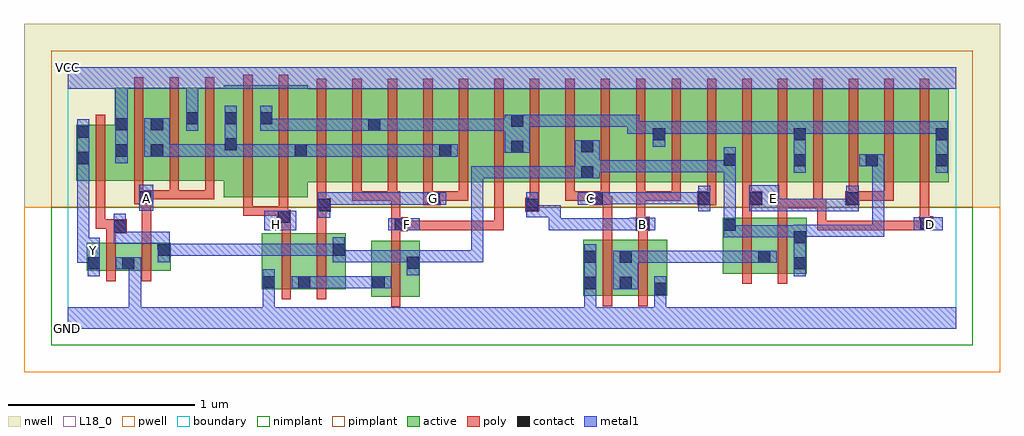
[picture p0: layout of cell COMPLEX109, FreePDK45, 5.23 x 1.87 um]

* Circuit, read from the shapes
.subckt COMPLEX109 A B C D E F G GND H VCC Y
M1 GND n1 Y VSUBS nfet w=0.15u l=0.05u
M2 n1 A GND VSUBS nfet w=0.15u l=0.05u
M3 n2 H GND VSUBS nfet w=0.3u l=0.05u
M4 n1 G n2 VSUBS nfet w=0.3u l=0.05u
M5 n1 F n2 VSUBS nfet w=0.3u l=0.05u
M6 n3 C GND VSUBS nfet w=0.3u l=0.05u
M7 GND B n3 VSUBS nfet w=0.3u l=0.05u
M8 n3 E n1 VSUBS nfet w=0.3u l=0.05u
M9 n1 D n3 VSUBS nfet w=0.3u l=0.05u
M10 VCC n1 Y n4 pfet w=0.3u l=0.05u
M11 n5 A VCC n4 pfet w=0.5u l=0.05u m=3
M12 n6 H n5 n4 pfet w=0.6u l=0.05u m=2
M13 n7 G n5 n4 pfet w=0.5u l=0.05u
M14 n6 F n7 n4 pfet w=0.5u l=0.05u
M15 n8 F n6 n4 pfet w=0.5u l=0.05u
M16 n5 G n8 n4 pfet w=0.5u l=0.05u
M17 n9 G n5 n4 pfet w=0.5u l=0.05u
M18 n6 F n9 n4 pfet w=0.5u l=0.05u
M19 n10 B n6 n4 pfet w=0.5u l=0.05u
M20 n1 C n10 n4 pfet w=0.5u l=0.05u
M21 n11 C n1 n4 pfet w=0.5u l=0.05u
M22 n6 B n11 n4 pfet w=0.5u l=0.05u
M23 n12 B n6 n4 pfet w=0.5u l=0.05u
M24 n1 C n12 n4 pfet w=0.5u l=0.05u
M25 n13 E n1 n4 pfet w=0.5u l=0.05u
M26 n6 D n13 n4 pfet w=0.5u l=0.05u
M27 n14 D n6 n4 pfet w=0.5u l=0.05u
M28 n1 E n14 n4 pfet w=0.5u l=0.05u
M29 n15 E n1 n4 pfet w=0.5u l=0.05u
M30 n6 D n15 n4 pfet w=0.5u l=0.05u
.ends

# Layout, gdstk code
import gdstk
lib = gdstk.Library(unit=1e-6, precision=1e-09)
def R(c, l, rs):  # rectangles x0, y0, x1, y1
    for r in rs: c.add(gdstk.rectangle(r[:2], r[2:], *l))
def A(c, l, x, y, w, h, nx, ny, dx, dy):  # array of equal rectangles
    R(c, l, [(x+i*dx, y+j*dy, x+i*dx+w, y+j*dy+h) for i in range(nx) for j in range(ny)])
active = (1, 0)
pwell = (2, 0)
nwell = (3, 0)
nimplant = (4, 0)
pimplant = (5, 0)
poly = (9, 0)
contact = (10, 0)
metal1 = (11, 0)
L18_0 = (18, 0)
boundary = (235, 0)

complex109 = lib.new_cell('COMPLEX109')
R(complex109, active, [(1.627,0.172,1.887,0.472), (2.762,0.175,2.837,0.475), (2.762,0.175,3.027,0.475), (2.952,0.175,3.212,0.475), (3.137,0.175,3.212,0.392), (1.627,0.2,1.702,0.392), (1.812,0.2,1.887,0.472), (2.952,0.2,3.027,0.422), (1.04,0.212,1.115,0.512), (1.04,0.212,1.305,0.512), (1.23,0.212,1.49,0.512), (1.23,0.212,1.305,0.397), (1.415,0.295,1.49,0.512), (3.51,0.295,3.585,0.595), (3.51,0.295,3.77,0.595), (3.695,0.295,3.96,0.595), (3.695,0.295,3.77,0.497), (3.885,0.295,3.96,0.595), (0.102,0.31,0.362,0.46), (0.287,0.31,0.552,0.46), (0.102,0.312,0.177,0.46), (0.287,0.312,0.362,0.457), (0.477,0.347,0.552,0.46), (0.835,0.705,1.1,1.305), (1.025,0.705,1.285,1.305), (1.025,0.707,1.1,1.2), (1.21,0.785,1.455,1.285), (1.455,0.785,1.68,1.285), (1.605,0.785,1.835,1.285), (1.835,0.785,2.06,1.285), (1.985,0.785,2.06,1.07), (1.985,0.785,2.215,1.285), (2.215,0.785,2.445,1.285), (2.37,0.785,2.445,1.2), (2.37,0.785,2.595,1.285), (2.595,0.785,2.82,1.285), (2.745,0.785,2.82,1.07), (2.745,0.785,2.975,1.285), (2.975,0.785,3.205,1.285), (3.13,0.785,3.355,1.285), (3.355,0.785,3.585,1.285), (3.51,0.785,3.735,1.285), (3.51,0.785,3.585,1.07), (3.735,0.785,3.96,1.285), (3.885,0.785,3.96,1.2), (3.885,0.785,4.115,1.285), (4.115,0.785,4.345,1.285), (4.27,0.785,4.495,1.285), (4.27,0.785,4.345,1.07), (4.495,0.785,4.72,1.285), (4.645,0.785,4.72,1.2), (0.045,0.792,0.12,1.092), (0.045,0.792,0.325,1.092), (0.25,0.792,0.325,1.292), (0.25,0.792,0.515,1.292), (0.44,0.792,0.705,1.292), (0.44,0.792,0.515,1.2), (0.63,0.792,0.91,1.292), (0.63,0.792,0.705,1.292), (0.835,0.807,0.91,1.2), (1.21,0.807,1.285,1.07), (1.605,0.807,1.68,1.2), (3.13,0.807,3.205,1.2)])
R(complex109, pwell, [(-0.235,-0.235,4.995,0.65)])
R(complex109, nwell, [(-0.235,0.65,4.995,1.635)])
R(complex109, nimplant, [(-0.09,-0.09,4.85,0.65)])
R(complex109, pimplant, [(-0.09,0.65,4.85,1.49)])
A(complex109, poly, 1.525, 0.685, 0.05, 0.095, 4, 1, 0.19, 0)
A(complex109, poly, 2.665, 0.685, 0.05, 0.095, 6, 1, 0.19, 0)
A(complex109, poly, 0.355, 0.692, 0.05, 0.095, 3, 1, 0.19, 0)
A(complex109, poly, 1.335, 0.73, 0.05, 0.61, 18, 1, 0.19, 0)
A(complex109, poly, 0.355, 0.737, 0.05, 0.61, 3, 1, 0.19, 0)
R(complex109, poly, [(1.732,0.117,1.782,0.527), (2.867,0.12,2.917,0.53), (3.057,0.12,3.107,0.53), (1.145,0.157,1.195,0.567), (1.335,0.157,1.385,0.567), (3.615,0.24,3.665,0.65), (3.805,0.24,3.855,0.65), (0.207,0.255,0.257,0.515), (0.397,0.255,0.447,0.515), (0.207,0.465,0.257,0.56), (0.397,0.465,0.447,0.717), (1.732,0.477,1.782,0.572), (2.867,0.48,2.917,0.71), (3.057,0.48,3.107,0.575), (0.207,0.51,0.315,0.585), (1.145,0.517,1.195,0.612), (1.335,0.517,1.385,0.675), (1.732,0.522,1.822,0.597), (3.042,0.525,3.117,0.6), (1.772,0.527,1.822,0.577), (1.772,0.527,1.822,0.577), (1.772,0.527,1.987,0.577), (1.937,0.527,1.987,0.577), (1.937,0.527,1.987,0.577), (1.937,0.527,1.987,0.577), (1.937,0.527,2.13,0.577), (2.08,0.527,2.13,0.577), (2.08,0.527,2.13,0.577), (2.08,0.527,2.13,0.577), (2.08,0.527,2.335,0.577), (2.285,0.527,2.335,0.577), (2.285,0.527,2.335,0.577), (2.285,0.527,2.335,0.577), (2.285,0.527,2.335,0.78), (4.015,0.527,4.065,0.577), (4.015,0.527,4.292,0.577), (4.015,0.527,4.065,0.695), (4.242,0.527,4.292,0.577), (4.242,0.527,4.292,0.577), (4.242,0.527,4.292,0.577), (4.242,0.527,4.48,0.577), (4.43,0.527,4.48,0.577), (4.43,0.527,4.612,0.577), (4.562,0.527,4.612,0.577), (4.562,0.527,4.612,0.577), (4.562,0.527,4.612,0.577), (4.562,0.527,4.612,0.577), (4.562,0.527,4.637,0.602), (0.15,0.535,0.2,0.787), (0.15,0.535,0.257,0.585), (0.207,0.535,0.257,0.585), (1.732,0.547,1.782,0.735), (3.045,0.55,3.095,0.735), (4.565,0.552,4.615,0.78), (1.12,0.562,1.195,0.637), (1.13,0.587,1.18,0.655), (3.615,0.6,3.665,0.71), (3.805,0.6,3.855,0.695), (0.94,0.605,0.99,0.655), (0.94,0.605,0.99,0.655), (0.94,0.605,0.99,0.655), (0.94,0.605,0.99,0.7), (0.94,0.605,1.18,0.655), (1.13,0.605,1.18,0.655), (1.13,0.605,1.18,0.7), (1.335,0.625,1.385,0.675), (1.335,0.625,1.385,0.675), (1.335,0.625,1.41,0.7), (2.452,0.627,2.527,0.702), (3.805,0.645,3.855,0.695), (3.805,0.645,3.855,0.695), (3.805,0.645,3.855,0.695), (3.805,0.645,3.855,0.695), (3.805,0.645,3.855,0.695), (3.805,0.645,3.855,0.78), (3.805,0.645,4.045,0.695), (3.995,0.645,4.045,0.695), (3.995,0.645,4.065,0.695), (3.995,0.645,4.045,0.78), (4.015,0.645,4.065,0.695), (0.94,0.65,0.99,1.36), (1.13,0.65,1.18,1.36), (1.335,0.65,1.385,0.78), (2.475,0.652,2.525,0.78), (1.905,0.66,1.997,0.735), (2.797,0.66,2.905,0.735), (2.855,0.66,2.905,0.71), (2.855,0.66,2.917,0.71), (3.372,0.66,3.475,0.735), (3.615,0.66,3.665,0.71), (3.615,0.66,3.665,0.71), (3.615,0.66,3.722,0.735), (4.167,0.66,4.242,0.735), (0.355,0.667,0.452,0.742), (0.397,0.667,0.447,0.717), (0.397,0.667,0.447,0.717), (1.525,0.685,1.575,0.735), (1.525,0.685,1.575,0.735), (1.525,0.685,1.575,0.735), (1.525,0.685,1.765,0.735), (1.715,0.685,1.782,0.735), (1.947,0.685,1.997,0.735), (1.947,0.685,1.997,0.735), (1.947,0.685,2.145,0.735), (2.095,0.685,2.145,0.735), (2.665,0.685,2.715,0.735), (2.665,0.685,2.715,0.735), (2.665,0.685,2.715,0.735), (2.665,0.685,2.847,0.735), (3.045,0.685,3.095,0.735), (3.045,0.685,3.095,0.735), (3.045,0.685,3.095,0.735), (3.045,0.685,3.285,0.735), (3.235,0.685,3.285,0.735), (4.185,0.685,4.235,0.78), (4.192,0.685,4.242,0.735), (4.192,0.685,4.242,0.735), (4.192,0.685,4.425,0.735), (4.375,0.685,4.425,0.735), (4.375,0.685,4.425,0.78), (0.402,0.692,0.452,0.742), (0.402,0.692,0.452,0.742), (0.402,0.692,0.595,0.742), (0.545,0.692,0.595,0.742), (0.545,0.692,0.595,0.742), (0.545,0.692,0.595,0.742), (0.545,0.692,0.785,0.742), (0.735,0.692,0.785,0.742), (0.15,0.737,0.2,1.147)])
R(complex109, contact, [(3.142,0.18,3.207,0.245), (2.767,0.212,2.832,0.277), (2.957,0.212,3.022,0.277), (1.045,0.217,1.11,0.282), (1.235,0.217,1.3,0.282), (1.632,0.217,1.697,0.282), (0.107,0.317,0.172,0.382), (0.292,0.317,0.357,0.382), (3.89,0.317,3.955,0.382), (1.817,0.32,1.882,0.385), (2.767,0.352,2.832,0.417), (2.957,0.352,3.022,0.417), (3.7,0.352,3.765,0.417), (0.482,0.39,0.547,0.455), (1.42,0.39,1.485,0.455), (3.89,0.457,3.955,0.522), (0.245,0.515,0.31,0.58), (3.515,0.525,3.58,0.59), (1.752,0.527,1.817,0.592), (3.047,0.53,3.112,0.595), (4.567,0.532,4.632,0.597), (1.125,0.567,1.19,0.632), (1.34,0.63,1.405,0.695), (2.457,0.632,2.522,0.697), (1.927,0.665,1.992,0.73), (2.802,0.665,2.867,0.73), (3.377,0.665,3.442,0.73), (3.652,0.665,3.717,0.73), (4.172,0.665,4.237,0.73), (0.382,0.672,0.447,0.737), (2.75,0.805,2.815,0.87), (3.89,0.87,3.955,0.935), (4.275,0.87,4.34,0.935), (4.65,0.87,4.715,0.935), (3.515,0.872,3.58,0.937), (0.05,0.882,0.115,0.947), (0.255,0.922,0.32,0.987), (0.445,0.922,0.51,0.987), (1.215,0.922,1.28,0.987), (1.99,0.922,2.055,0.987), (2.375,0.942,2.44,1.007), (2.75,0.945,2.815,1.01), (0.84,0.955,0.905,1.02), (3.135,1.01,3.2,1.075), (3.89,1.01,3.955,1.075), (4.65,1.01,4.715,1.075), (0.05,1.022,0.115,1.087), (1.61,1.06,1.675,1.125), (0.255,1.062,0.32,1.127), (0.445,1.062,0.51,1.127), (2.375,1.082,2.44,1.147), (0.635,1.095,0.7,1.16), (0.84,1.095,0.905,1.16), (1.03,1.095,1.095,1.16)])
R(complex109, metal1, [(0,0,4.76,0.115), (0.327,0.05,0.392,0.382), (1.045,0.05,1.11,0.115), (1.045,0.05,1.11,0.115), (1.045,0.05,1.11,0.247), (2.767,0.05,2.832,0.115), (2.767,0.05,2.832,0.115), (2.767,0.05,2.832,0.242), (3.142,0.05,3.207,0.21), (3.142,0.145,3.207,0.21), (3.142,0.145,3.207,0.21), (3.142,0.145,3.207,0.28), (2.767,0.177,2.832,0.452), (1.045,0.182,1.11,0.317), (2.922,0.212,3.057,0.417), (1.2,0.217,1.335,0.282), (1.27,0.217,1.335,0.282), (1.27,0.217,1.335,0.282), (1.27,0.217,1.472,0.282), (1.407,0.217,1.472,0.282), (1.407,0.217,1.622,0.282), (1.557,0.217,1.622,0.282), (1.557,0.217,1.662,0.282), (1.597,0.217,1.732,0.282), (0.107,0.282,0.172,0.417), (3.89,0.282,3.955,0.557), (1.817,0.285,1.882,0.42), (0.257,0.317,0.392,0.382), (0.327,0.317,0.392,0.382), (0.327,0.317,0.392,0.382), (0.327,0.317,0.392,0.382), (0.327,0.317,0.392,0.382), (0.05,0.352,0.172,0.487), (0.107,0.352,0.172,0.417), (2.992,0.352,3.057,0.417), (2.992,0.352,3.057,0.417), (2.992,0.352,3.21,0.417), (3.145,0.352,3.21,0.417), (3.145,0.352,3.21,0.417), (3.145,0.352,3.21,0.417), (3.145,0.352,3.347,0.417), (3.282,0.352,3.347,0.417), (3.282,0.352,3.58,0.417), (3.515,0.352,3.58,0.417), (3.515,0.352,3.58,0.417), (3.515,0.352,3.58,0.417), (3.515,0.352,3.73,0.417), (3.665,0.352,3.73,0.417), (3.665,0.352,3.73,0.417), (3.665,0.352,3.8,0.417), (0.482,0.355,0.547,0.49), (1.42,0.355,1.485,0.49), (1.42,0.355,1.622,0.42), (1.557,0.355,1.622,0.42), (1.557,0.355,1.622,0.42), (1.557,0.355,1.622,0.42), (1.557,0.355,1.777,0.42), (1.712,0.355,1.777,0.42), (1.712,0.355,1.882,0.42), (1.817,0.355,2.025,0.42), (1.96,0.355,2.025,0.42), (1.96,0.355,2.025,0.42), (1.96,0.355,2.025,0.42), (1.96,0.355,2.025,0.42), (1.96,0.355,2.025,0.42), (1.96,0.355,2.227,0.42), (2.162,0.355,2.227,0.42), (2.162,0.355,2.227,0.42), (2.162,0.355,2.227,0.42), (2.162,0.355,2.227,0.42), (2.162,0.355,2.227,0.42), (2.162,0.355,2.227,0.87), (0.482,0.39,0.682,0.455), (0.617,0.39,0.682,0.455), (0.617,0.39,0.767,0.455), (0.702,0.39,0.767,0.455), (0.702,0.39,0.82,0.455), (0.755,0.39,0.82,0.455), (0.755,0.39,0.957,0.455), (0.892,0.39,0.957,0.455), (0.892,0.39,0.957,0.455), (0.892,0.39,0.957,0.455), (0.892,0.39,1.107,0.455), (1.042,0.39,1.107,0.455), (1.042,0.39,1.107,0.455), (1.042,0.39,1.107,0.455), (1.042,0.39,1.335,0.455), (1.27,0.39,1.335,0.455), (1.27,0.39,1.485,0.455), (1.42,0.39,1.485,0.455), (1.42,0.39,1.485,0.455), (0.05,0.422,0.115,0.487), (0.05,0.422,0.115,0.487), (0.05,0.422,0.115,0.912), (0.48,0.425,0.547,0.49), (0.48,0.425,0.545,0.52), (0.245,0.455,0.31,0.52), (0.245,0.455,0.545,0.52), (0.245,0.455,0.31,0.545), (0.245,0.48,0.31,0.545), (0.245,0.48,0.31,0.545), (0.245,0.48,0.31,0.615), (3.515,0.49,3.58,0.625), (3.515,0.49,3.812,0.555), (3.747,0.49,3.812,0.555), (3.747,0.49,3.812,0.555), (3.747,0.49,3.812,0.555), (3.747,0.49,3.955,0.555), (3.89,0.49,3.955,0.555), (3.89,0.49,3.955,0.555), (3.89,0.492,4.1,0.557), (4.035,0.492,4.1,0.557), (4.035,0.492,4.1,0.557), (4.035,0.492,4.1,0.557), (4.035,0.492,4.1,0.557), (4.035,0.492,4.1,0.557), (4.035,0.492,4.322,0.557), (4.257,0.492,4.322,0.557), (4.257,0.492,4.375,0.557), (4.31,0.492,4.375,0.557), (4.31,0.492,4.375,0.557), (4.31,0.492,4.375,0.557), (4.31,0.492,4.375,0.935), (1.052,0.527,1.225,0.632), (1.717,0.527,1.887,0.592), (2.577,0.527,2.642,0.592), (2.577,0.527,2.642,0.662), (2.577,0.527,2.66,0.592), (2.595,0.527,2.66,0.592), (2.595,0.527,2.85,0.592), (2.785,0.527,2.85,0.592), (2.785,0.527,2.85,0.592), (2.785,0.527,2.85,0.592), (2.785,0.527,2.987,0.592), (2.922,0.527,2.987,0.592), (2.922,0.527,3.077,0.592), (3.012,0.527,3.147,0.595), (4.532,0.527,4.687,0.597), (3.515,0.56,3.58,0.625), (3.515,0.56,3.58,0.625), (3.515,0.56,3.58,0.625), (3.515,0.56,3.58,0.625), (3.515,0.56,3.58,0.902), (1.34,0.595,1.405,0.73), (2.457,0.597,2.522,0.732), (2.457,0.597,2.642,0.662), (2.577,0.597,2.642,0.662), (3.377,0.63,3.442,0.765), (3.652,0.63,3.812,0.767), (3.747,0.63,3.812,0.695), (3.747,0.63,3.812,0.695), (3.747,0.63,3.95,0.695), (3.885,0.63,3.95,0.695), (3.885,0.63,3.95,0.695), (3.885,0.63,3.95,0.695), (3.885,0.63,4.092,0.695), (4.027,0.63,4.092,0.695), (4.027,0.63,4.092,0.695), (4.027,0.63,4.092,0.695), (4.027,0.63,4.237,0.695), (4.172,0.63,4.237,0.765), (0.382,0.632,0.457,0.772), (1.34,0.665,1.485,0.73), (1.42,0.665,1.485,0.73), (1.42,0.665,1.64,0.73), (1.575,0.665,1.64,0.73), (1.575,0.665,1.64,0.73), (1.575,0.665,1.64,0.73), (1.575,0.665,1.777,0.73), (1.712,0.665,1.777,0.73), (1.712,0.665,1.847,0.73), (1.782,0.665,1.847,0.73), (1.782,0.665,1.957,0.73), (1.892,0.665,2.027,0.732), (2.732,0.665,2.902,0.732), (2.837,0.667,3.062,0.732), (2.997,0.667,3.062,0.732), (2.997,0.667,3.062,0.732), (2.997,0.667,3.062,0.732), (2.997,0.667,3.21,0.732), (3.145,0.667,3.21,0.732), (3.145,0.667,3.21,0.732), (3.145,0.667,3.21,0.732), (3.145,0.667,3.442,0.732), (3.377,0.667,3.442,0.732), (3.377,0.667,3.442,0.732), (2.162,0.805,2.227,0.87), (2.162,0.805,2.365,0.87), (2.3,0.805,2.365,0.87), (2.3,0.805,2.502,0.87), (2.437,0.805,2.502,0.87), (2.437,0.805,2.502,0.87), (2.437,0.805,2.502,0.87), (2.437,0.805,2.642,0.87), (2.577,0.805,2.642,0.87), (2.577,0.805,2.66,0.87), (2.595,0.805,2.66,0.87), (2.595,0.805,2.78,0.87), (2.715,0.805,2.85,1.01), (3.89,0.835,3.955,1.11), (4.65,0.835,4.715,1.11), (2.785,0.837,2.85,0.902), (2.785,0.837,2.85,0.902), (2.785,0.837,3.055,0.902), (2.99,0.837,3.055,0.902), (2.99,0.837,3.055,0.902), (2.99,0.837,3.055,0.902), (2.99,0.837,3.2,0.902), (3.135,0.837,3.2,0.902), (3.135,0.837,3.2,0.902), (3.135,0.837,3.2,0.902), (3.135,0.837,3.347,0.902), (3.282,0.837,3.347,0.902), (3.282,0.837,3.347,0.902), (3.282,0.837,3.347,0.902), (3.282,0.837,3.58,0.902), (3.515,0.837,3.58,0.972), (0.05,0.847,0.115,1.122), (4.24,0.87,4.375,0.935), (0.255,0.887,0.32,1.162), (0.84,0.92,0.905,1.195), (0.41,0.922,0.545,1.127), (0.48,0.922,0.682,0.987), (0.617,0.922,0.682,0.987), (0.617,0.922,0.685,0.987), (0.62,0.922,0.685,0.987), (0.62,0.922,0.82,0.987), (0.755,0.922,0.82,0.987), (0.755,0.922,0.905,0.987), (0.84,0.922,0.957,0.987), (0.892,0.922,0.957,0.987), (0.892,0.922,1.107,0.987), (1.042,0.922,1.107,0.987), (1.042,0.922,1.107,0.987), (1.042,0.922,1.107,0.987), (1.042,0.922,1.245,0.987), (1.18,0.922,1.315,0.987), (1.25,0.922,1.315,0.987), (1.25,0.922,1.315,0.987), (1.25,0.922,1.472,0.987), (1.407,0.922,1.472,0.987), (1.407,0.922,1.622,0.987), (1.557,0.922,1.622,0.987), (1.557,0.922,1.622,0.987), (1.557,0.922,1.622,0.987), (1.557,0.922,1.777,0.987), (1.712,0.922,1.777,0.987), (1.712,0.922,1.847,0.987), (1.782,0.922,1.847,0.987), (1.782,0.922,2.02,0.987), (1.955,0.922,2.02,0.987), (1.955,0.922,2.02,0.987), (1.955,0.922,2.09,0.987), (2.34,0.942,2.475,1.147), (3.135,0.975,3.2,1.11), (2.997,1.045,3.2,1.11), (2.997,1.045,3.062,1.147), (3.135,1.045,3.2,1.11), (3.135,1.045,3.2,1.11), (3.135,1.045,3.347,1.11), (3.282,1.045,3.347,1.11), (3.282,1.045,3.58,1.11), (3.515,1.045,3.58,1.11), (3.515,1.045,3.58,1.11), (3.515,1.045,3.58,1.11), (3.515,1.045,3.717,1.11), (3.652,1.045,3.717,1.11), (3.652,1.045,3.717,1.11), (3.652,1.045,3.717,1.11), (3.652,1.045,3.955,1.11), (3.89,1.045,3.955,1.11), (3.89,1.045,3.955,1.11), (3.89,1.045,4.092,1.11), (4.027,1.045,4.092,1.11), (4.027,1.045,4.092,1.11), (4.027,1.045,4.092,1.11), (4.027,1.045,4.237,1.11), (4.172,1.045,4.237,1.11), (4.172,1.045,4.237,1.11), (4.172,1.045,4.237,1.11), (4.172,1.045,4.46,1.11), (4.395,1.045,4.46,1.11), (4.395,1.045,4.46,1.11), (4.395,1.045,4.46,1.11), (4.395,1.045,4.715,1.11), (4.65,1.045,4.715,1.11), (4.65,1.045,4.715,1.11), (0.635,1.06,0.7,1.195), (1.03,1.06,1.095,1.125), (1.03,1.06,1.095,1.125), (1.03,1.06,1.095,1.195), (1.03,1.06,1.245,1.125), (1.18,1.06,1.245,1.125), (1.18,1.06,1.245,1.125), (1.18,1.06,1.245,1.125), (1.18,1.06,1.472,1.125), (1.407,1.06,1.472,1.125), (1.407,1.06,1.64,1.125), (1.575,1.06,1.64,1.125), (1.575,1.06,1.64,1.125), (1.575,1.06,1.71,1.125), (1.645,1.06,1.777,1.125), (1.712,1.06,1.777,1.125), (1.712,1.06,1.882,1.125), (1.817,1.06,1.882,1.125), (1.817,1.06,2.02,1.125), (1.955,1.06,2.02,1.125), (1.955,1.06,2.02,1.125), (1.955,1.06,2.02,1.125), (1.955,1.06,2.162,1.125), (2.097,1.06,2.162,1.125), (2.097,1.06,2.162,1.125), (2.097,1.06,2.162,1.125), (2.097,1.06,2.365,1.125), (2.3,1.06,2.365,1.125), (2.3,1.06,2.405,1.125), (2.41,1.082,2.502,1.147), (2.437,1.082,2.502,1.147), (2.437,1.082,2.642,1.147), (2.577,1.082,2.642,1.147), (2.577,1.082,2.66,1.147), (2.595,1.082,2.66,1.147), (2.595,1.082,2.85,1.147), (2.785,1.082,2.85,1.147), (2.785,1.082,2.85,1.147), (2.785,1.082,2.85,1.147), (2.785,1.082,3.062,1.147), (2.997,1.082,3.062,1.147), (2.997,1.082,3.062,1.147), (0.255,1.097,0.32,1.35), (0.635,1.13,0.7,1.35), (0,1.285,4.76,1.4)])
R(complex109, L18_0, [(0,0,4.76,0.115), (0.327,0.05,0.392,0.382), (1.045,0.05,1.11,0.115), (1.045,0.05,1.11,0.115), (1.045,0.05,1.11,0.247), (2.767,0.05,2.832,0.115), (2.767,0.05,2.832,0.115), (2.767,0.05,2.832,0.242), (3.142,0.05,3.207,0.21), (3.142,0.145,3.207,0.28), (3.142,0.145,3.207,0.21), (3.142,0.145,3.207,0.21), (2.767,0.177,2.832,0.452), (1.045,0.182,1.11,0.317), (0.107,0.282,0.172,0.417), (0.257,0.317,0.392,0.382), (0.327,0.317,0.392,0.382), (0.327,0.317,0.392,0.382), (0.327,0.317,0.392,0.382), (0.327,0.317,0.392,0.382), (0.05,0.352,0.172,0.487), (0.107,0.352,0.172,0.417), (0.107,0.387,0.172,0.452), (0.05,0.422,0.115,0.487), (0.05,0.422,0.115,0.487), (0.05,0.422,0.115,0.912), (1.052,0.527,1.225,0.632), (1.087,0.527,1.152,0.592), (1.717,0.527,1.887,0.592), (1.787,0.527,1.852,0.592), (2.577,0.527,2.642,0.662), (2.577,0.527,2.642,0.592), (2.577,0.527,2.66,0.592), (2.595,0.527,2.66,0.592), (2.595,0.527,2.85,0.592), (2.785,0.527,2.85,0.592), (2.785,0.527,2.85,0.592), (2.785,0.527,2.85,0.592), (2.785,0.527,2.987,0.592), (2.922,0.527,2.987,0.592), (2.922,0.527,3.077,0.592), (3.012,0.527,3.147,0.595), (3.047,0.527,3.112,0.592), (4.532,0.527,4.687,0.597), (4.587,0.527,4.652,0.592), (1.34,0.595,1.405,0.73), (2.457,0.597,2.522,0.732), (2.457,0.597,2.642,0.662), (2.577,0.597,2.642,0.662), (3.377,0.63,3.442,0.765), (3.652,0.63,3.812,0.767), (3.747,0.63,3.812,0.695), (3.747,0.63,3.812,0.695), (3.747,0.63,3.95,0.695), (3.885,0.63,3.95,0.695), (3.885,0.63,3.95,0.695), (3.885,0.63,3.95,0.695), (3.885,0.63,4.092,0.695), (4.027,0.63,4.092,0.695), (4.027,0.63,4.092,0.695), (4.027,0.63,4.092,0.695), (4.027,0.63,4.237,0.695), (4.172,0.63,4.237,0.765), (0.382,0.632,0.457,0.772), (1.34,0.665,1.485,0.73), (1.42,0.665,1.485,0.73), (1.42,0.665,1.64,0.73), (1.575,0.665,1.64,0.73), (1.575,0.665,1.64,0.73), (1.575,0.665,1.64,0.73), (1.575,0.665,1.777,0.73), (1.712,0.665,1.777,0.73), (1.712,0.665,1.847,0.73), (1.782,0.665,1.847,0.73), (1.782,0.665,1.957,0.73), (1.892,0.665,2.027,0.732), (2.732,0.665,2.902,0.732), (0.387,0.667,0.452,0.732), (1.927,0.667,1.992,0.732), (2.767,0.667,2.832,0.732), (2.837,0.667,3.062,0.732), (2.997,0.667,3.062,0.732), (2.997,0.667,3.062,0.732), (2.997,0.667,3.062,0.732), (2.997,0.667,3.21,0.732), (3.145,0.667,3.21,0.732), (3.145,0.667,3.21,0.732), (3.145,0.667,3.21,0.732), (3.145,0.667,3.442,0.732), (3.377,0.667,3.442,0.732), (3.377,0.667,3.442,0.732), (3.747,0.667,3.812,0.732), (0.05,0.847,0.115,1.122), (0.255,0.887,0.32,1.162), (0.635,1.06,0.7,1.195), (0.255,1.097,0.32,1.35), (0.635,1.13,0.7,1.35), (0,1.285,4.76,1.4)])
R(complex109, boundary, [(0,0,4.76,1.4)])
complex109.add(gdstk.Label('A', (0.42,0.7), layer=11, texttype=0))
complex109.add(gdstk.Label('B', (3.08,0.56), layer=11, texttype=0))
complex109.add(gdstk.Label('C', (2.8,0.7), layer=11, texttype=0))
complex109.add(gdstk.Label('D', (4.62,0.56), layer=11, texttype=0))
complex109.add(gdstk.Label('E', (3.78,0.7), layer=11, texttype=0))
complex109.add(gdstk.Label('F', (1.82,0.56), layer=11, texttype=0))
complex109.add(gdstk.Label('G', (1.96,0.7), layer=11, texttype=0))
complex109.add(gdstk.Label('H', (1.12,0.56), layer=11, texttype=0))
complex109.add(gdstk.Label('Y', (0.14,0.42), layer=11, texttype=0))
complex109.add(gdstk.Label('VCC', (0,1.4), layer=11, texttype=0))
complex109.add(gdstk.Label('GND', (0,0), layer=11, texttype=0))

lib.write_gds('COMPLEX109.gds')
